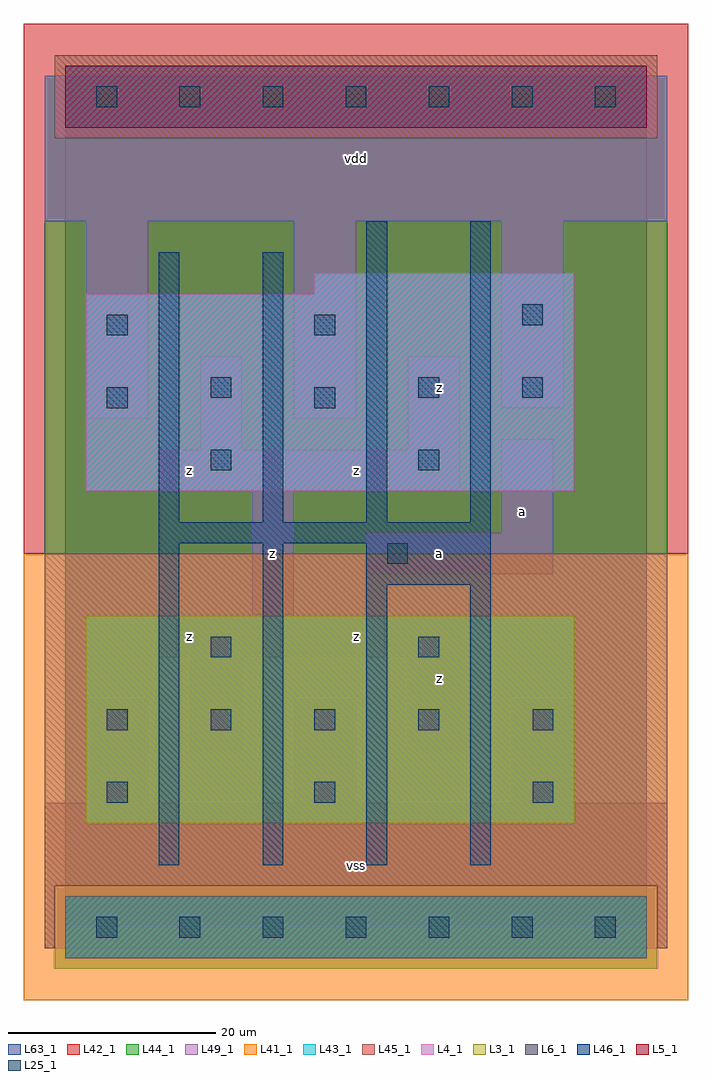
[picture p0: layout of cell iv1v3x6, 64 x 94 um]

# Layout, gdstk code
import gdstk
lib = gdstk.Library(unit=1e-6, precision=1e-09)
def R(c, l, rs):  # rectangles x0, y0, x1, y1
    for r in rs: c.add(gdstk.rectangle(r[:2], r[2:], *l))
def A(c, l, x, y, w, h, nx, ny, dx, dy):  # array of equal rectangles
    R(c, l, [(x+i*dx, y+j*dy, x+i*dx+w, y+j*dy+h) for i in range(nx) for j in range(ny)])
L3_1 = (3, 1)
L4_1 = (4, 1)
L5_1 = (5, 1)
L6_1 = (6, 1)
L25_1 = (25, 1)
L41_1 = (41, 1)
L42_1 = (42, 1)
L43_1 = (43, 1)
L44_1 = (44, 1)
L45_1 = (45, 1)
L46_1 = (46, 1)
L49_1 = (49, 1)
L63_1 = (63, 1)

iv1v3x6 = lib.new_cell('iv1v3x6')
R(iv1v3x6, L3_1, [(2,10,49,30)])
R(iv1v3x6, L4_1, [(2,42,49,61), (24,61,49,63)])
R(iv1v3x6, L5_1, [(0,77,56,83)])
R(iv1v3x6, L6_1, [(0,-3,56,3), (0,-3,56,3)])
A(iv1v3x6, L25_1, 3, -1, 2, 2, 7, 2, 8, 80)
A(iv1v3x6, L25_1, 4, 19, 2, 2, 4, 1, 10, 0)
R(iv1v3x6, L25_1, [(4,12,6,14), (24,12,26,14), (45,12,47,14), (45,19,47,21), (14,26,16,28), (34,26,36,28), (31,35,33,37), (14,44,16,46), (34,44,36,46), (4,50,6,52), (24,50,26,52), (14,51,16,53), (34,51,36,53), (44,51,46,53), (4,57,6,59), (24,57,26,59), (44,58,46,60)])
R(iv1v3x6, L41_1, [(-4,-7,60,36)])
R(iv1v3x6, L42_1, [(-4,36,60,87)])
R(iv1v3x6, L43_1, [(0,-3,56,3), (2,10,49,30), (2,42,49,61), (24,61,49,63), (0,77,56,83)])
R(iv1v3x6, L44_1, [(-1,-4,57,4), (-2,36,58,76), (-2,76,-1,82), (57,76,58,82)])
R(iv1v3x6, L45_1, [(-2,-2,-1,4), (57,-2,58,4), (-2,4,58,36), (-1,76,57,84)])
R(iv1v3x6, L46_1, [(9,6,11,37), (19,6,21,37), (29,6,31,33), (39,6,41,33), (29,33,41,37), (9,37,41,39), (9,39,11,65), (19,39,21,65), (29,39,31,68), (39,39,41,68)])
R(iv1v3x6, L49_1, [(-2,-2,58,12), (2,12,8,22), (22,12,28,22), (43,12,49,22), (12,17,17,26), (33,17,39,26), (9,26,39,30), (18,30,22,42), (29,34,47,38), (42,38,47,47), (9,42,38,46), (13,46,17,55), (33,46,38,55), (2,49,8,68), (22,49,28,68), (42,50,48,68), (-2,68,58,82)])
R(iv1v3x6, L63_1, [(0,0,56,80)])
iv1v3x6.add(gdstk.Label('z', (12,28), layer=49, texttype=1))
iv1v3x6.add(gdstk.Label('z', (20,36), layer=49, texttype=1))
iv1v3x6.add(gdstk.Label('z', (12,44), layer=49, texttype=1))
iv1v3x6.add(gdstk.Label('vss', (28,6), layer=49, texttype=1))
iv1v3x6.add(gdstk.Label('z', (28,28), layer=49, texttype=1))
iv1v3x6.add(gdstk.Label('a', (36,36), layer=49, texttype=1))
iv1v3x6.add(gdstk.Label('z', (36,24), layer=49, texttype=1))
iv1v3x6.add(gdstk.Label('z', (28,44), layer=49, texttype=1))
iv1v3x6.add(gdstk.Label('z', (36,52), layer=49, texttype=1))
iv1v3x6.add(gdstk.Label('vdd', (28,74), layer=49, texttype=1))
iv1v3x6.add(gdstk.Label('a', (44,40), layer=49, texttype=1))

lib.write_gds('iv1v3x6.gds')
